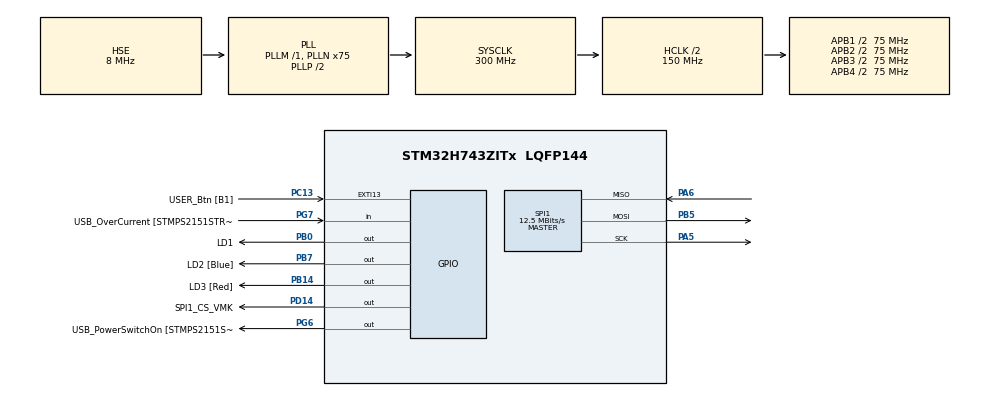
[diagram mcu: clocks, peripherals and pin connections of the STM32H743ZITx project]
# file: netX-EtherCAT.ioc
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CORTEX_M7.CPU_DCache=Enabled
CORTEX_M7.CPU_ICache=Enabled
FREERTOS.Tasks01=defaultTask,0,128,StartDefaultTask,Default,NULL,Dynamic,NULL,NULL
FREERTOS.configCHECK_FOR_STACK_OVERFLOW=2
FREERTOS.configENABLE_FPU=1
FREERTOS.configTOTAL_HEAP_SIZE=153600
FREERTOS.configUSE_NEWLIB_REENTRANT=1
Mcu.Family=STM32H7
Mcu.Name=STM32H743ZITx
Mcu.Package=LQFP144
NVIC.PriorityGroup=NVIC_PRIORITYGROUP_4
NVIC.SPI1_IRQn=true\:5\:0\:true\:false\:true\:true\:true\:true\:true
NVIC.TIM3_IRQn=true\:6\:0\:true\:false\:true\:true\:true\:true\:true
NVIC.TIM6_DAC_IRQn=true\:15\:0\:false\:false\:true\:false\:false\:true\:true
NVIC.TimeBase=TIM6_DAC_IRQn
NVIC.TimeBaseIP=TIM6
PA13\ (JTMS/SWDIO).GPIO_Label=TMS
PA13\ (JTMS/SWDIO).Mode=Trace_Asynchronous_SW
PA13\ (JTMS/SWDIO).Signal=DEBUG_JTMS-SWDIO
PA14\ (JTCK/SWCLK).GPIO_Label=TCK
PA14\ (JTCK/SWCLK).Mode=Trace_Asynchronous_SW
PA14\ (JTCK/SWCLK).Signal=DEBUG_JTCK-SWCLK
PA5.GPIO_PuPd=GPIO_PULLDOWN
PA5.GPIO_Speed=GPIO_SPEED_FREQ_MEDIUM
PA5.Mode=Full_Duplex_Master
PA5.Signal=SPI1_SCK
PA6.GPIO_PuPd=GPIO_PULLDOWN
PA6.GPIO_Speed=GPIO_SPEED_FREQ_MEDIUM
PA6.Mode=Full_Duplex_Master
PA6.Signal=SPI1_MISO
PB0.GPIO_Label=LD1
PB0.Signal=GPIO_Output
PB14.GPIO_Label=LD3 [Red]
PB14.Signal=GPIO_Output
PB3\ (JTDO/TRACESWO).GPIO_Label=SWO
PB3\ (JTDO/TRACESWO).Mode=Trace_Asynchronous_SW
PB3\ (JTDO/TRACESWO).Signal=DEBUG_JTDO-SWO
PB5.GPIO_PuPd=GPIO_PULLDOWN
PB5.GPIO_Speed=GPIO_SPEED_FREQ_MEDIUM
PB5.Mode=Full_Duplex_Master
PB5.Signal=SPI1_MOSI
PB7.GPIO_Label=LD2 [Blue]
PB7.Signal=GPIO_Output
PC13.GPIO_Label=USER_Btn [B1]
PC13.Signal=GPXTI13
PC14-OSC32_IN\ (OSC32_IN).Mode=LSE-External-Oscillator
PC14-OSC32_IN\ (OSC32_IN).Signal=RCC_OSC32_IN
PC15-OSC32_OUT\ (OSC32_OUT).Mode=LSE-External-Oscillator
PC15-OSC32_OUT\ (OSC32_OUT).Signal=RCC_OSC32_OUT
PD14.GPIO_Label=SPI1_CS_VMK
PD14.GPIO_ModeDefaultOutputPP=GPIO_MODE_OUTPUT_PP
PD14.GPIO_PuPd=GPIO_PULLUP
PD14.PinState=GPIO_PIN_SET
PD14.Signal=GPIO_Output
PG6.GPIO_Label=USB_PowerSwitchOn [STMPS2151STR_EN]
PG6.Signal=GPIO_Output
PG7.GPIO_Label=USB_OverCurrent [STMPS2151STR_FAULT]
PG7.Signal=GPIO_Input
PH0-OSC_IN\ (PH0).GPIO_Label=MCO
PH0-OSC_IN\ (PH0).Mode=HSE-External-Clock-Source
PH0-OSC_IN\ (PH0).Signal=RCC_OSC_IN
PH1-OSC_OUT\ (PH1).Signal=RCC_OSC_OUT
ProjectManager.HeapSize=0x200
ProjectManager.StackSize=0x400
ProjectManager.TargetToolchain=STM32CubeIDE
RCC.48MHZClocksFreq_Value=24000000
RCC.ADCFreq_Value=16125000
RCC.AHBFreq_Value=216000000
RCC.APB1CLKDivider=RCC_HCLK_DIV4
RCC.APB1Freq_Value=75000000
RCC.APB1TimFreq_Value=108000000
RCC.APB2CLKDivider=RCC_HCLK_DIV2
RCC.APB2Freq_Value=75000000
RCC.APB2TimFreq_Value=216000000
RCC.APB3Freq_Value=75000000
RCC.APB4Freq_Value=75000000
RCC.CortexFreq_Value=300000000
RCC.D1PPRE=RCC_APB3_DIV2
RCC.D2PPRE1=RCC_APB1_DIV2
RCC.D2PPRE2=RCC_APB2_DIV2
RCC.D3PPRE=RCC_APB4_DIV2
RCC.DIVM1=1
RCC.DIVN1=75
RCC.DIVQ1=3
RCC.HCLKFreq_Value=150000000
RCC.HPRE=RCC_HCLK_DIV2
RCC.HSE_VALUE=8000000
RCC.HSI_VALUE=64000000
RCC.PLLFRACN=0
RCC.PLLM=25
RCC.PLLMUL=RCC_PLL_MUL9
RCC.PLLN=432
RCC.PLLQ=9
RCC.PLLSourceVirtual=RCC_PLLSOURCE_HSE
RCC.PRESCALERUSB=RCC_USBCLKSOURCE_PLL_DIV1_5
RCC.PWR_Regulator_Voltage_Scale=PWR_REGULATOR_VOLTAGE_SCALE1
RCC.SYSCLKFreq_VALUE=300000000
RCC.SYSCLKSource=RCC_SYSCLKSOURCE_PLLCLK
RCC.SYSCLKSourceVirtual=RCC_SYSCLKSOURCE_PLLCLK
RCC.USBFreq_Value=200000000
RCC.VCOOutputFreq_Value=432000000
SPI1.BaudRatePrescaler=SPI_BAUDRATEPRESCALER_16
SPI1.CLKPhase=SPI_PHASE_2EDGE
SPI1.CLKPolarity=SPI_POLARITY_HIGH
SPI1.CRCCalculation=SPI_CRCCALCULATION_DISABLE
SPI1.CalculateBaudRate=12.5 MBits/s
SPI1.DataSize=SPI_DATASIZE_8BIT
SPI1.Direction=SPI_DIRECTION_2LINES
SPI1.Mode=SPI_MODE_MASTER
SPI1.NSSPMode=SPI_NSS_PULSE_DISABLE
SPI1.VirtualType=VM_MASTER
TIM3.Period=100-1
TIM3.Prescaler=uwPrescalerValue
VP_FREERTOS_VS_CMSIS_V1.Mode=CMSIS_V1
VP_SYS_VS_tim6.Mode=TIM6
VP_TIM3_VS_ClockSourceINT.Mode=Internal
board=NUCLEO-H743ZI

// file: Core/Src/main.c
/* USER CODE BEGIN Header */
/**
 ******************************************************************************
 * @file           : main.c
 * @brief          : Main program body
 ******************************************************************************
 * @attention
 *
 * Copyright (c) 2022 STMicroelectronics.
 * All rights reserved.
 *
 * This software is licensed under terms that can be found in the LICENSE file
 * in the root directory of this software component.
 * If no LICENSE file comes with this software, it is provided AS-IS.
 *
 ******************************************************************************
 */
/* USER CODE END Header */
#include "main.h"
#include "cmsis_os.h"

/* USER CODE BEGIN Includes */
#include <stdbool.h>
#include <stdio.h>
#include "cifXToolkit.h"
#include "cifXErrors.h"
#include "SerialDPMInterface.h"
#include "cifXApplicationDemo.h"
/* USER CODE END Includes */

SPI_HandleTypeDef hspi1;

TIM_HandleTypeDef htim3;

osThreadId defaultTaskHandle;
/* USER CODE BEGIN PV */

extern void (*g_pfTimerCallback)(void *pPrm);
extern void *g_pTimerPrm;

/* USER CODE END PV */

void SystemClock_Config(void);
static void MX_GPIO_Init(void);
static void MX_SPI1_Init(void);
static void MX_TIM3_Init(void);
void StartDefaultTask(void const * argument);

/* USER CODE BEGIN 0 */
static bool isCookieAvailable(PDEVICEINSTANCE ptDevInstance,
        uint32_t ulTimeoutInMs) {
    bool fCookieAvailable = false;
    char szCookie[5];
    uint32_t starttime;
    uint32_t difftime = 0;

    starttime = OS_GetMilliSecCounter();

    while (false == fCookieAvailable && difftime < ulTimeoutInMs) {
        OS_Memset(szCookie, 0, sizeof(szCookie));

        HWIF_READN(ptDevInstance, szCookie, ptDevInstance->pbDPM, 4);

        /** on DPM cards we need to check the for a valid cookie */
        if ((0 == OS_Strcmp(szCookie, CIFX_DPMSIGNATURE_BSL_STR))
                || (0 == OS_Strcmp(szCookie, CIFX_DPMSIGNATURE_FW_STR))) {
            /** We have a firmware or bootloader running, so we assume it is a flash based device */
            /** NOTE: If the driver is restarted and a RAM based FW was downloaded before this
             will result in the device being handled as flash based.
             Currently there is no way to detect this */
            fCookieAvailable = true;
        } else {
            fCookieAvailable = false;
            difftime = OS_GetMilliSecCounter() - starttime;
        }
    }
    if (false == fCookieAvailable) {
        printf("DPM cookie not available since %u milliseconds\r\n",
                (unsigned int) ulTimeoutInMs);
    }
    return fCookieAvailable;
}

static int32_t initCifXToolkit() {

    int32_t lRet = 0; /* Return value for common error codes      */

    /* First of all initialize toolkit */
    lRet = cifXTKitInit();

    if (CIFX_NO_ERROR == lRet) {
        PDEVICEINSTANCE ptDevInstance = (PDEVICEINSTANCE) OS_Memalloc(
                sizeof(*ptDevInstance));
        OS_Memset(ptDevInstance, 0, sizeof(*ptDevInstance));

        /* Set trace level of toolkit */
        g_ulTraceLevel = TRACE_LEVEL_ERROR | TRACE_LEVEL_WARNING
                | TRACE_LEVEL_INFO | TRACE_LEVEL_DEBUG;

        /* Insert the basic device information , into the DeviceInstance structure
         for the toolkit. The DPM address must be zero, as we only transfer address
         offsets via the SPI interface.
         NOTE: The physical address and irq number are for information use
         only, so we skip them here. Interrupt is currently not supported
         and ignored, so we dont need to set it */
        ptDevInstance->fPCICard = 0;
        ptDevInstance->pvOSDependent = ptDevInstance;
        ptDevInstance->ulDPMSize = 0x10000;
        OS_Strncpy(ptDevInstance->szName, "cifX0",
                sizeof(ptDevInstance->szName));

        /* netX needs some time until SPM is ready for netX type autodetection */
        OS_Sleep(500);

        /* netX type corresponding SPM initialization */
        printf("netX type detection and SPM initialisation ...\n\r");
        lRet = SerialDPM_Init(ptDevInstance);
        printf("netX type 0x%02x\n\r", (char) lRet);

        /** we know that netX firmware is flash based in this application, therefore we check if it starts up
         ** by comparing cookie at DPM address 0x00 is valid.*/
        while (false == isCookieAvailable(ptDevInstance, 100))
            ;

        /* Add the device to the toolkits handled device list */
        lRet = cifXTKitAddDevice(ptDevInstance);
    }
    return lRet;
}
/* USER CODE END 0 */

int main(void)
{

  /* Enable I-Cache---------------------------------------------------------*/
  SCB_EnableICache();

  /* Enable D-Cache---------------------------------------------------------*/
  SCB_EnableDCache();

  /* MCU Configuration--------------------------------------------------------*/

  /* Reset of all peripherals, Initializes the Flash interface and the Systick. */
  HAL_Init();

  /* Configure the system clock */
  SystemClock_Config();

  /* Initialize all configured peripherals */
  MX_GPIO_Init();
  MX_SPI1_Init();
  MX_TIM3_Init();
  /* USER CODE BEGIN 2 */

  int32_t lRet = initCifXToolkit();
  /* If it succeeded, start the cifX application*/
  if (lRet == CIFX_NO_ERROR) {
    lRet = App_CifXApplicationDemo();
  }

  /* USER CODE END 2 */

  /* Create the thread(s) */
  /* definition and creation of defaultTask */
  osThreadDef(defaultTask, StartDefaultTask, osPriorityNormal, 0, 128);
  defaultTaskHandle = osThreadCreate(osThread(defaultTask), NULL);

  /* Start scheduler */
  osKernelStart();

  /* We should never get here as control is now taken by the scheduler */
  /* Infinite loop */
    while (1) {

    }
}

void SystemClock_Config(void)
{
  RCC_OscInitTypeDef RCC_OscInitStruct = {0};
  RCC_ClkInitTypeDef RCC_ClkInitStruct = {0};

  /** Supply configuration update enable
  */
  HAL_PWREx_ConfigSupply(PWR_LDO_SUPPLY);

  /** Configure the main internal regulator output voltage
  */
  __HAL_PWR_VOLTAGESCALING_CONFIG(PWR_REGULATOR_VOLTAGE_SCALE1);

  while(!__HAL_PWR_GET_FLAG(PWR_FLAG_VOSRDY)) {}

  /** Initializes the RCC Oscillators according to the specified parameters
  * in the RCC_OscInitTypeDef structure.
  */
  RCC_OscInitStruct.OscillatorType = RCC_OSCILLATORTYPE_HSE;
  RCC_OscInitStruct.HSEState = RCC_HSE_BYPASS;
  RCC_OscInitStruct.PLL.PLLState = RCC_PLL_ON;
  RCC_OscInitStruct.PLL.PLLSource = RCC_PLLSOURCE_HSE;
  RCC_OscInitStruct.PLL.PLLM = 1;
  RCC_OscInitStruct.PLL.PLLN = 75;
  RCC_OscInitStruct.PLL.PLLP = 2;
  RCC_OscInitStruct.PLL.PLLQ = 3;
  RCC_OscInitStruct.PLL.PLLR = 2;
  RCC_OscInitStruct.PLL.PLLRGE = RCC_PLL1VCIRANGE_3;
  RCC_OscInitStruct.PLL.PLLVCOSEL = RCC_PLL1VCOWIDE;
  RCC_OscInitStruct.PLL.PLLFRACN = 0;
  if (HAL_RCC_OscConfig(&RCC_OscInitStruct) != HAL_OK)
  {
    Error_Handler();
  }

  /** Initializes the CPU, AHB and APB buses clocks
  */
  RCC_ClkInitStruct.ClockType = RCC_CLOCKTYPE_HCLK|RCC_CLOCKTYPE_SYSCLK
                              |RCC_CLOCKTYPE_PCLK1|RCC_CLOCKTYPE_PCLK2
                              |RCC_CLOCKTYPE_D3PCLK1|RCC_CLOCKTYPE_D1PCLK1;
  RCC_ClkInitStruct.SYSCLKSource = RCC_SYSCLKSOURCE_PLLCLK;
  RCC_ClkInitStruct.SYSCLKDivider = RCC_SYSCLK_DIV1;
  RCC_ClkInitStruct.AHBCLKDivider = RCC_HCLK_DIV2;
  RCC_ClkInitStruct.APB3CLKDivider = RCC_APB3_DIV2;
  RCC_ClkInitStruct.APB1CLKDivider = RCC_APB1_DIV2;
  RCC_ClkInitStruct.APB2CLKDivider = RCC_APB2_DIV2;
  RCC_ClkInitStruct.APB4CLKDivider = RCC_APB4_DIV2;

  if (HAL_RCC_ClockConfig(&RCC_ClkInitStruct, FLASH_LATENCY_2) != HAL_OK)
  {
    Error_Handler();
  }
}

static void MX_SPI1_Init(void)
{

  /* SPI1 parameter configuration*/
  hspi1.Instance = SPI1;
  hspi1.Init.Mode = SPI_MODE_MASTER;
  hspi1.Init.Direction = SPI_DIRECTION_2LINES;
  hspi1.Init.DataSize = SPI_DATASIZE_8BIT;
  hspi1.Init.CLKPolarity = SPI_POLARITY_HIGH;
  hspi1.Init.CLKPhase = SPI_PHASE_2EDGE;
  hspi1.Init.NSS = SPI_NSS_SOFT;
  hspi1.Init.BaudRatePrescaler = SPI_BAUDRATEPRESCALER_16;
  hspi1.Init.FirstBit = SPI_FIRSTBIT_MSB;
  hspi1.Init.TIMode = SPI_TIMODE_DISABLE;
  hspi1.Init.CRCCalculation = SPI_CRCCALCULATION_DISABLE;
  hspi1.Init.CRCPolynomial = 0x0;
  hspi1.Init.NSSPMode = SPI_NSS_PULSE_DISABLE;
  hspi1.Init.NSSPolarity = SPI_NSS_POLARITY_LOW;
  hspi1.Init.FifoThreshold = SPI_FIFO_THRESHOLD_01DATA;
  hspi1.Init.TxCRCInitializationPattern = SPI_CRC_INITIALIZATION_ALL_ZERO_PATTERN;
  hspi1.Init.RxCRCInitializationPattern = SPI_CRC_INITIALIZATION_ALL_ZERO_PATTERN;
  hspi1.Init.MasterSSIdleness = SPI_MASTER_SS_IDLENESS_00CYCLE;
  hspi1.Init.MasterInterDataIdleness = SPI_MASTER_INTERDATA_IDLENESS_00CYCLE;
  hspi1.Init.MasterReceiverAutoSusp = SPI_MASTER_RX_AUTOSUSP_DISABLE;
  hspi1.Init.MasterKeepIOState = SPI_MASTER_KEEP_IO_STATE_DISABLE;
  hspi1.Init.IOSwap = SPI_IO_SWAP_DISABLE;
  if (HAL_SPI_Init(&hspi1) != HAL_OK)
  {
    Error_Handler();
  }

}

static void MX_TIM3_Init(void)
{

  /* USER CODE BEGIN TIM3_Init 0 */
  __IO uint32_t uwPrescalerValue = (uint32_t)((SystemCoreClock/ 2) / 10000) - 1;
  /* USER CODE END TIM3_Init 0 */

  TIM_ClockConfigTypeDef sClockSourceConfig = {0};
  TIM_MasterConfigTypeDef sMasterConfig = {0};

  htim3.Instance = TIM3;
  htim3.Init.Prescaler = uwPrescalerValue;
  htim3.Init.CounterMode = TIM_COUNTERMODE_UP;
  htim3.Init.Period = 100-1;
  htim3.Init.ClockDivision = TIM_CLOCKDIVISION_DIV1;
  htim3.Init.AutoReloadPreload = TIM_AUTORELOAD_PRELOAD_DISABLE;
  if (HAL_TIM_Base_Init(&htim3) != HAL_OK)
  {
    Error_Handler();
  }
  sClockSourceConfig.ClockSource = TIM_CLOCKSOURCE_INTERNAL;
  if (HAL_TIM_ConfigClockSource(&htim3, &sClockSourceConfig) != HAL_OK)
  {
    Error_Handler();
  }
  sMasterConfig.MasterOutputTrigger = TIM_TRGO_RESET;
  sMasterConfig.MasterSlaveMode = TIM_MASTERSLAVEMODE_DISABLE;
  if (HAL_TIMEx_MasterConfigSynchronization(&htim3, &sMasterConfig) != HAL_OK)
  {
    Error_Handler();
  }
  /* USER CODE BEGIN TIM3_Init 2 */
  // VMK. Commented out for now.

  if (HAL_TIM_Base_Start_IT(&htim3) != HAL_OK)
  {
    Error_Handler();
  }
  /* USER CODE END TIM3_Init 2 */

}

static void MX_GPIO_Init(void)
{
  GPIO_InitTypeDef GPIO_InitStruct = {0};

  /* GPIO Ports Clock Enable */
  __HAL_RCC_GPIOC_CLK_ENABLE();
  __HAL_RCC_GPIOH_CLK_ENABLE();
  __HAL_RCC_GPIOA_CLK_ENABLE();
  __HAL_RCC_GPIOB_CLK_ENABLE();
  __HAL_RCC_GPIOD_CLK_ENABLE();
  __HAL_RCC_GPIOG_CLK_ENABLE();

  /*Configure GPIO pin Output Level */
  HAL_GPIO_WritePin(GPIOB, LD1_Pin|LD3_Pin|LD2_Pin, GPIO_PIN_RESET);

  /*Configure GPIO pin Output Level */
  HAL_GPIO_WritePin(SPI1_CS_VMK_GPIO_Port, SPI1_CS_VMK_Pin, GPIO_PIN_SET);

  /*Configure GPIO pin Output Level */
  HAL_GPIO_WritePin(USB_PowerSwitchOn_GPIO_Port, USB_PowerSwitchOn_Pin, GPIO_PIN_RESET);

  /*Configure GPIO pin : USER_Btn_Pin */
  GPIO_InitStruct.Pin = USER_Btn_Pin;
  GPIO_InitStruct.Mode = GPIO_MODE_IT_RISING;
  GPIO_InitStruct.Pull = GPIO_NOPULL;
  HAL_GPIO_Init(USER_Btn_GPIO_Port, &GPIO_InitStruct);

  /*Configure GPIO pins : LD1_Pin LD3_Pin LD2_Pin */
  GPIO_InitStruct.Pin = LD1_Pin|LD3_Pin|LD2_Pin;
  GPIO_InitStruct.Mode = GPIO_MODE_OUTPUT_PP;
  GPIO_InitStruct.Pull = GPIO_NOPULL;
  GPIO_InitStruct.Speed = GPIO_SPEED_FREQ_LOW;
  HAL_GPIO_Init(GPIOB, &GPIO_InitStruct);

  /*Configure GPIO pin : SPI1_CS_VMK_Pin */
  GPIO_InitStruct.Pin = SPI1_CS_VMK_Pin;
  GPIO_InitStruct.Mode = GPIO_MODE_OUTPUT_PP;
  GPIO_InitStruct.Pull = GPIO_PULLUP;
  GPIO_InitStruct.Speed = GPIO_SPEED_FREQ_LOW;
  HAL_GPIO_Init(SPI1_CS_VMK_GPIO_Port, &GPIO_InitStruct);

  /*Configure GPIO pin : USB_PowerSwitchOn_Pin */
  GPIO_InitStruct.Pin = USB_PowerSwitchOn_Pin;
  GPIO_InitStruct.Mode = GPIO_MODE_OUTPUT_PP;
  GPIO_InitStruct.Pull = GPIO_NOPULL;
  GPIO_InitStruct.Speed = GPIO_SPEED_FREQ_LOW;
  HAL_GPIO_Init(USB_PowerSwitchOn_GPIO_Port, &GPIO_InitStruct);

  /*Configure GPIO pin : USB_OverCurrent_Pin */
  GPIO_InitStruct.Pin = USB_OverCurrent_Pin;
  GPIO_InitStruct.Mode = GPIO_MODE_INPUT;
  GPIO_InitStruct.Pull = GPIO_NOPULL;
  HAL_GPIO_Init(USB_OverCurrent_GPIO_Port, &GPIO_InitStruct);

}

void StartDefaultTask(void const * argument)
{
    for (;;) {
        osDelay(1);
    }
}

void HAL_TIM_PeriodElapsedCallback(TIM_HandleTypeDef *htim)
{
  if (htim->Instance == TIM6) {
    HAL_IncTick();
  }
  /* USER CODE BEGIN Callback 1 */
  else if (htim->Instance == TIM3) {
      if (g_pfTimerCallback != NULL) {
          g_pfTimerCallback(g_pTimerPrm);
      }
  }
  /* USER CODE END Callback 1 */
}

void Error_Handler(void)
{
  /* USER CODE BEGIN Error_Handler_Debug */
    /* User can add his own implementation to report the HAL error return state */
    __disable_irq();

    HAL_GPIO_WritePin(LD3_GPIO_Port, LD3_Pin, GPIO_PIN_SET);

    while (1) {
    }
  /* USER CODE END Error_Handler_Debug */
}

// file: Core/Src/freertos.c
/* USER CODE BEGIN Header */
/**
  ******************************************************************************
  * File Name          : freertos.c
  * Description        : Code for freertos applications
  ******************************************************************************
  * @attention
  *
  * Copyright (c) 2022 STMicroelectronics.
  * All rights reserved.
  *
  * This software is licensed under terms that can be found in the LICENSE file
  * in the root directory of this software component.
  * If no LICENSE file comes with this software, it is provided AS-IS.
  *
  ******************************************************************************
  */
/* USER CODE END Header */

#include "FreeRTOS.h"
#include "task.h"
#include "main.h"

/* GetIdleTaskMemory prototype (linked to static allocation support) */
void vApplicationGetIdleTaskMemory( StaticTask_t **ppxIdleTaskTCBBuffer, StackType_t **ppxIdleTaskStackBuffer, uint32_t *pulIdleTaskStackSize );

/* Hook prototypes */
void vApplicationStackOverflowHook(xTaskHandle xTask, signed char *pcTaskName);
void vApplicationMallocFailedHook(void);

/* USER CODE BEGIN 4 */
__weak void vApplicationStackOverflowHook(xTaskHandle xTask, signed char *pcTaskName)
{
   /* Run time stack overflow checking is performed if
   configCHECK_FOR_STACK_OVERFLOW is defined to 1 or 2. This hook function is
   called if a stack overflow is detected. */
}
/* USER CODE END 4 */

/* USER CODE BEGIN 5 */
__weak void vApplicationMallocFailedHook(void)
{
   /* vApplicationMallocFailedHook() will only be called if
   configUSE_MALLOC_FAILED_HOOK is set to 1 in FreeRTOSConfig.h. It is a hook
   function that will get called if a call to pvPortMalloc() fails.
   pvPortMalloc() is called internally by the kernel whenever a task, queue,
   timer or semaphore is created. It is also called by various parts of the
   demo application. If heap_1.c or heap_2.c are used, then the size of the
   heap available to pvPortMalloc() is defined by configTOTAL_HEAP_SIZE in
   FreeRTOSConfig.h, and the xPortGetFreeHeapSize() API function can be used
   to query the size of free heap space that remains (although it does not
   provide information on how the remaining heap might be fragmented). */
}
/* USER CODE END 5 */

/* USER CODE BEGIN GET_IDLE_TASK_MEMORY */
static StaticTask_t xIdleTaskTCBBuffer;
static StackType_t xIdleStack[configMINIMAL_STACK_SIZE];

void vApplicationGetIdleTaskMemory( StaticTask_t **ppxIdleTaskTCBBuffer, StackType_t **ppxIdleTaskStackBuffer, uint32_t *pulIdleTaskStackSize )
{
  *ppxIdleTaskTCBBuffer = &xIdleTaskTCBBuffer;
  *ppxIdleTaskStackBuffer = &xIdleStack[0];
  *pulIdleTaskStackSize = configMINIMAL_STACK_SIZE;
  /* place for user code */
}
/* USER CODE END GET_IDLE_TASK_MEMORY */
